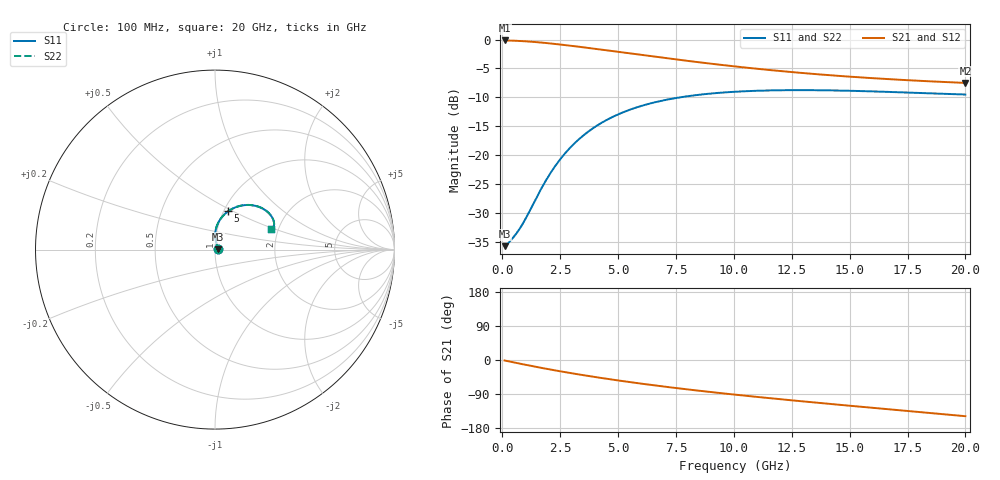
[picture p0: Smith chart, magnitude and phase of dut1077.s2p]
! Touchstone file exported from HFSS 2024.1.0
!  File:  C:/UserFiles/LocalFiles/RDL_TSV_Batchsim/temp_RDL_TSV_1077_1780094427.aedt
!  Generated:  06:58:12 AM May 30, 2026
!  Design:  RDL_TSV
!  Project:  temp_RDL_TSV_1077_1780094427
!  Setup:  Setup1
!  Solution:  Sweep
! Variables:
!  dtsv = 5.86um
!  hbump = 3um
!  htsv = 99.95um
!  ldown = 163.44um
!  lrdl = 294.58um
!  p = 40
!  p1 = 48.48um
!  rhole = 10um
!  subl = 1668.64um
!  t = 450um
!  tdown = 2.72um
!  trdl = 2.53um
!  viad = 10um
!  wdown = 13.8um
!  wrdl = 17.56um
!  xbump = 18um
# GHz S MA R 50.000000
! Terminal data exported
! Port[1] = TM1_1_T1
! Port[2] = TM1_4_T1
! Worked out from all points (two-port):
!   200 points, 100 MHz to 20 GHz, reference 50 ohm
!   highest |S21| = -0.14 dB at 100 MHz (marker M1); lowest = -7.5 dB at 20 GHz (marker M2)
!   |S21| within 3 dB of the highest: start of sweep to 6.948 GHz
!   lowest |S11| = -35.8 dB at 100 MHz (marker M3), VSWR 1.03, Z = 51.6 + j0.265 ohm
!   |S11| at or under -10 dB: start of sweep to 7.676 GHz
!   |S22| runs from -35.8 to -8.7 dB; largest |S21 - S12| = 9.7e-15
!   S11 on the Smith chart (normalised r, x): 100 MHz: 1.03, +0.01; 5 GHz: 1.05, +0.47; 20 GHz: 1.83, +0.48
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0.1  0.01624 9.1  0.9837 -1.3  0.9837 -1.3  0.01624 9.1
! Gamma 0 0 0 0
! Port Impedance 50 0 50 0
0.4  0.01857 32.2  0.9806 -5.1  0.9806 -5.1  0.01857 32.2
0.8  0.02383 56.3  0.9726 -10.1  0.9726 -10.1  0.02383 56.4
1  0.02793 66.4  0.9673 -12.6  0.9673 -12.6  0.02793 66.4
1.3  0.03647 77.7  0.9578 -16.2  0.9578 -16.2  0.03647 77.8
1.8  0.05636 87.2  0.9386 -22.0  0.9386 -22.0  0.05638 87.3
2.3  0.08112 89.4  0.9165 -27.6  0.9165 -27.6  0.08117 89.5
2.6  0.09734 88.9  0.9024 -30.8  0.9024 -30.8  0.09739 88.9
2.9  0.1141 87.5  0.8878 -34.0  0.8878 -34.0  0.1141 87.6
3.5  0.1478 83.5  0.8581 -40.0  0.8581 -40.0  0.1479 83.6
4.2  0.1857 77.9  0.8232 -46.7  0.8232 -46.7  0.1858 77.9
5  0.2249 71.2  0.7842 -53.9  0.7842 -53.9  0.2251 71.2
5.8  0.2587 64.8  0.7467 -60.7  0.7467 -60.7  0.2589 64.8
6.8  0.293 57.4  0.7026 -68.7  0.7026 -68.7  0.2932 57.5
8.4  0.3312 47.5  0.6399 -80.4  0.6399 -80.4  0.3315 47.5
10.1  0.3541 39.0  0.5843 -91.8  0.5843 -91.8  0.3545 39.0
11.7  0.3636 32.8  0.5417 -101.7  0.5417 -101.7  0.364 32.8
13.4  0.3649 27.7  0.5052 -111.6  0.5052 -111.6  0.3653 27.7
15  0.3606 24.2  0.4778 -120.7  0.4778 -120.7  0.361 24.2
16.7  0.3525 21.7  0.4545 -130.1  0.4545 -130.1  0.3529 21.7
18.3  0.3435 20.5  0.4369 -138.9  0.4369 -138.9  0.344 20.5
20  0.3345 20.3  0.4217 -148.3  0.4217 -148.3  0.3349 20.4
